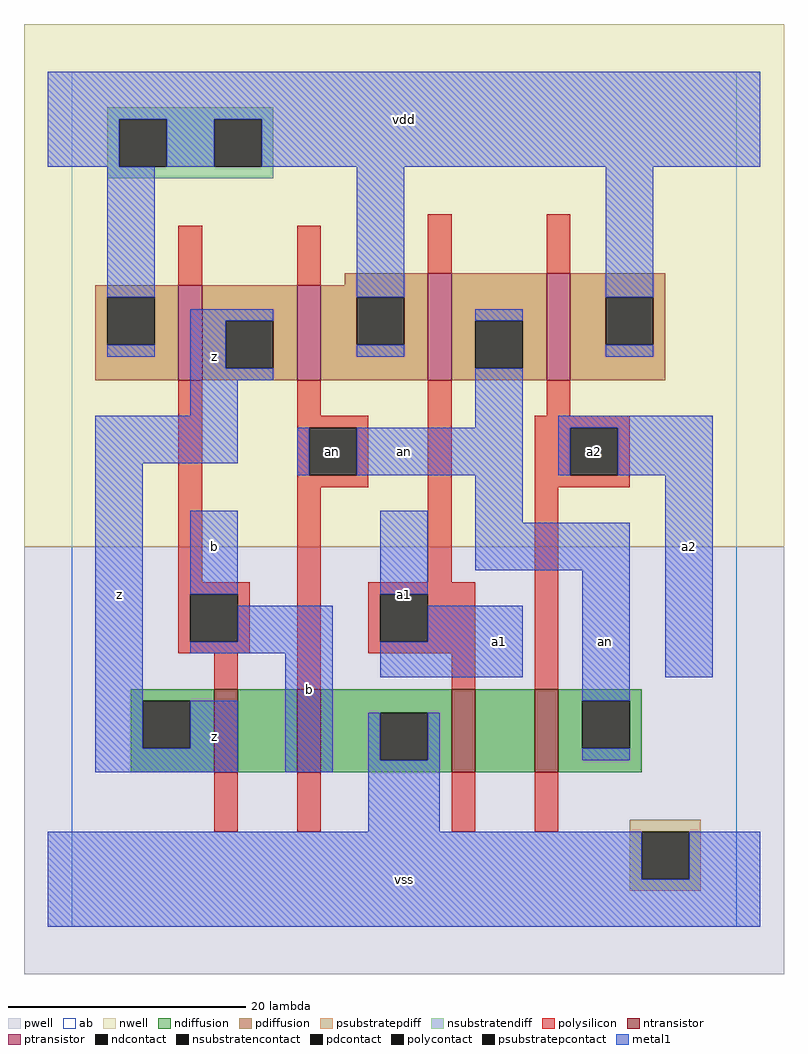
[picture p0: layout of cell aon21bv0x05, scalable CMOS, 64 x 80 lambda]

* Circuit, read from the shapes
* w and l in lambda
.subckt aon21bv0x05 a1 a2 an b vdd vss z
M1 n1 b z vss nfet w=7 l=2
M2 vss an n1 vss nfet w=7 l=2
M3 n2 a1 vss vss nfet w=7 l=2
M4 an a2 n2 vss nfet w=7 l=2
M5 z b vdd vdd pfet w=8 l=2
M6 vdd an z vdd pfet w=8 l=2
M7 an a1 vdd vdd pfet w=9 l=2
M8 vdd a2 an vdd pfet w=9 l=2
.ends

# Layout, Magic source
magic
tech scmos
<< ab >>
rect 0 0 56 72
<< pwell >>
rect -4 -4 60 32
<< nwell >>
rect -4 32 60 76
<< polysilicon >>
rect 9 54 11 59
rect 19 54 21 59
rect 30 55 32 60
rect 40 55 42 60
rect 9 29 11 46
rect 19 43 21 46
rect 19 42 25 43
rect 19 38 20 42
rect 24 38 25 42
rect 19 37 25 38
rect 9 28 15 29
rect 9 24 10 28
rect 14 24 15 28
rect 9 23 15 24
rect 12 20 14 23
rect 19 20 21 37
rect 30 29 32 46
rect 40 43 42 46
rect 39 42 47 43
rect 39 38 42 42
rect 46 38 47 42
rect 39 37 47 38
rect 25 28 34 29
rect 25 24 26 28
rect 30 24 34 28
rect 25 23 34 24
rect 32 20 34 23
rect 39 20 41 37
rect 12 8 14 13
rect 19 8 21 13
rect 32 8 34 13
rect 39 8 41 13
<< ndiffusion >>
rect 5 19 12 20
rect 5 15 6 19
rect 10 15 12 19
rect 5 13 12 15
rect 14 13 19 20
rect 21 18 32 20
rect 21 14 26 18
rect 30 14 32 18
rect 21 13 32 14
rect 34 13 39 20
rect 41 19 48 20
rect 41 15 43 19
rect 47 15 48 19
rect 41 13 48 15
<< pdiffusion >>
rect 23 54 30 55
rect 2 53 9 54
rect 2 49 3 53
rect 7 49 9 53
rect 2 46 9 49
rect 11 51 19 54
rect 11 47 13 51
rect 17 47 19 51
rect 11 46 19 47
rect 21 53 30 54
rect 21 49 24 53
rect 28 49 30 53
rect 21 46 30 49
rect 32 51 40 55
rect 32 47 34 51
rect 38 47 40 51
rect 32 46 40 47
rect 42 53 50 55
rect 42 49 45 53
rect 49 49 50 53
rect 42 46 50 49
<< metal1 >>
rect -2 68 58 72
rect -2 64 4 68
rect 8 64 12 68
rect 16 64 58 68
rect 3 53 7 64
rect 24 53 28 64
rect 3 48 7 49
rect 10 51 17 52
rect 10 47 13 51
rect 45 53 49 64
rect 24 48 28 49
rect 34 51 38 52
rect 10 46 17 47
rect 45 48 49 49
rect 10 43 14 46
rect 2 39 14 43
rect 34 42 38 47
rect 2 15 6 39
rect 19 38 20 42
rect 24 38 38 42
rect 41 42 54 43
rect 41 38 42 42
rect 46 38 54 42
rect 10 28 14 35
rect 26 28 30 35
rect 34 34 38 38
rect 34 30 47 34
rect 14 24 22 27
rect 10 23 22 24
rect 10 15 14 19
rect 2 13 14 15
rect 18 13 22 23
rect 30 24 38 27
rect 26 21 38 24
rect 43 19 47 30
rect 50 21 54 38
rect 25 14 26 18
rect 30 14 31 18
rect 43 14 47 15
rect 25 8 31 14
rect -2 4 48 8
rect 52 4 58 8
rect -2 0 58 4
<< ntransistor >>
rect 12 13 14 20
rect 19 13 21 20
rect 32 13 34 20
rect 39 13 41 20
<< ptransistor >>
rect 9 46 11 54
rect 19 46 21 54
rect 30 46 32 55
rect 40 46 42 55
<< polycontact >>
rect 20 38 24 42
rect 10 24 14 28
rect 42 38 46 42
rect 26 24 30 28
<< ndcontact >>
rect 6 15 10 19
rect 26 14 30 18
rect 43 15 47 19
<< pdcontact >>
rect 3 49 7 53
rect 13 47 17 51
rect 24 49 28 53
rect 34 47 38 51
rect 45 49 49 53
<< psubstratepcontact >>
rect 48 4 52 8
<< nsubstratencontact >>
rect 4 64 8 68
rect 12 64 16 68
<< psubstratepdiff >>
rect 47 8 53 9
rect 47 4 48 8
rect 52 4 53 8
rect 47 3 53 4
<< nsubstratendiff >>
rect 3 68 17 69
rect 3 64 4 68
rect 8 64 12 68
rect 16 64 17 68
rect 3 63 17 64
<< labels >>
rlabel polycontact 22 40 22 40 6 an
rlabel metal1 4 28 4 28 6 z
rlabel metal1 20 20 20 20 6 b
rlabel metal1 12 16 12 16 6 z
rlabel metal1 12 32 12 32 6 b
rlabel metal1 12 48 12 48 6 z
rlabel metal1 28 4 28 4 6 vss
rlabel metal1 28 28 28 28 6 a1
rlabel metal1 36 24 36 24 6 a1
rlabel metal1 28 40 28 40 6 an
rlabel metal1 28 68 28 68 6 vdd
rlabel metal1 45 24 45 24 6 an
rlabel metal1 52 32 52 32 6 a2
rlabel polycontact 44 40 44 40 6 a2
<< end >>
